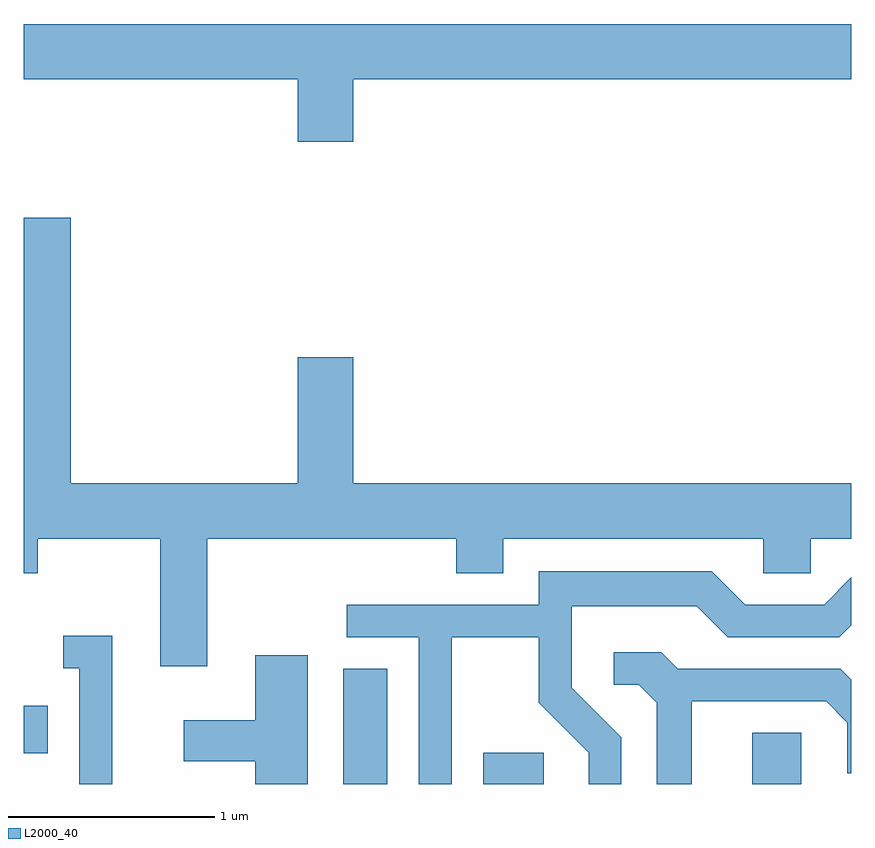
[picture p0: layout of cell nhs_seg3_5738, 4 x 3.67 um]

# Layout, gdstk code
import gdstk
lib = gdstk.Library(unit=1e-6, precision=1e-09)
def R(c, l, rs):  # rectangles x0, y0, x1, y1
    for r in rs: c.add(gdstk.rectangle(r[:2], r[2:], *l))
def P(c, l, *ps):  # polygons
    for p in ps: c.add(gdstk.Polygon(p, *l))
L2000_40 = (2000, 40)

nhs_seg3_5738 = lib.new_cell('nhs_seg3_5738')
R(nhs_seg3_5738, L2000_40, [(355.156,1175.892,355.369,1176.449), (355.831,1175.892,356.124,1176.044), (357.131,1175.892,357.369,1176.139), (353.611,1176.041,353.729,1176.269)])
P(nhs_seg3_5738, L2000_40, [(355.204,1179.296),(357.611,1179.296),(357.611,1179.564),(353.611,1179.564),(353.611,1179.296),(354.936,1179.296),(354.936,1178.996),(355.204,1178.996)],
  [(354.499,1177.076),(355.701,1177.076),(355.701,1176.911),(355.929,1176.911),(355.929,1177.076),(357.186,1177.076),(357.186,1176.911),(357.414,1176.911),(357.414,1177.076),(357.611,1177.076),(357.611,1177.344),(355.204,1177.344),(355.204,1177.954),(354.936,1177.954),(354.936,1177.344),(353.839,1177.344),(353.839,1178.629),(353.611,1178.629),(353.611,1176.911),(353.679,1176.911),(353.679,1177.076),(354.271,1177.076),(354.271,1176.461),(354.499,1176.461)],
  [(355.679,1176.601),(356.101,1176.601),(356.101,1176.284),(356.341,1176.044),(356.341,1175.892),(356.499,1175.892),(356.499,1176.117),(356.259,1176.357),(356.259,1176.751),(356.864,1176.751),(357.014,1176.601),(357.552,1176.601),(357.611,1176.66),(357.611,1176.891),(357.479,1176.759),(357.097,1176.759),(356.937,1176.919),(356.101,1176.919),(356.101,1176.759),(355.173,1176.759),(355.173,1176.601),(355.521,1176.601),(355.521,1175.892),(355.679,1175.892)],
  [(354.039,1176.609),(353.803,1176.609),(353.803,1176.451),(353.881,1176.451),(353.881,1175.892),(354.039,1175.892)],
  [(356.839,1176.291),(357.489,1176.291),(357.591,1176.189),(357.591,1175.943),(357.611,1175.943),(357.611,1176.395),(357.557,1176.449),(356.772,1176.449),(356.692,1176.529),(356.463,1176.529),(356.463,1176.371),(356.584,1176.371),(356.671,1176.284),(356.671,1175.892),(356.839,1175.892)],
  [(354.984,1176.514),(354.731,1176.514),(354.731,1176.199),(354.386,1176.199),(354.386,1176.001),(354.731,1176.001),(354.731,1175.892),(354.984,1175.892)])

lib.write_gds('nhs_seg3_5738.gds')
